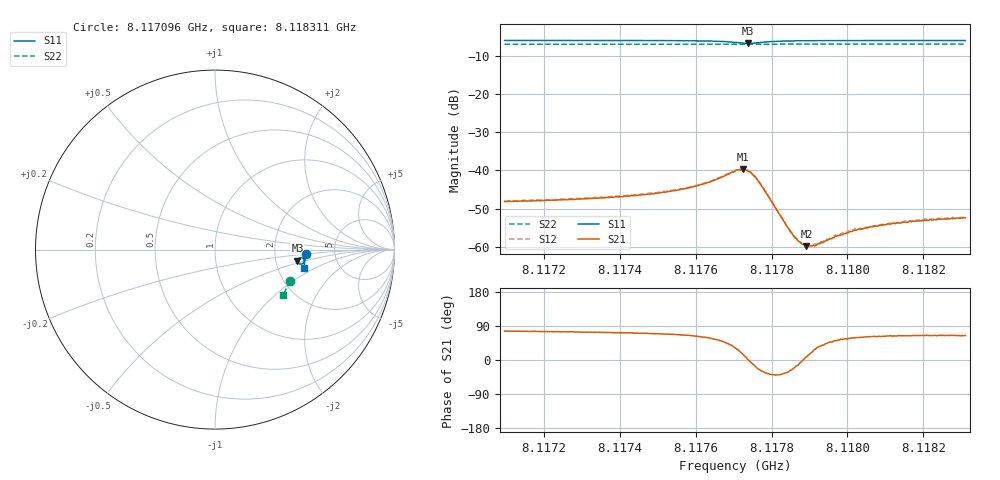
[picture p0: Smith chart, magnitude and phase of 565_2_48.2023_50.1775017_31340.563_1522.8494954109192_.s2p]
#  HZ  S  RI  R  50.00
! Rohde & Schwarz Vector Network Analyzer
! Rohde-Schwarz,ZNB20-2Port,1311601062101988,3.16
! Created: UTC 3/20/2024, 12:01:21 PM
! freq[Hz]  re:S11  im:S11  re:S21  im:S21  re:S12  im:S12  re:S22  im:S22
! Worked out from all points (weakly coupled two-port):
!   401 points, 8.117096 GHz to 8.118311 GHz, reference 50 ohm
!   highest |S21| = -39.73 dB at 8.117725 GHz (marker M1); lowest = -59.9 dB at 8.117892 GHz (marker M2)
!   lowest |S11| = -6.7 dB at 8.117737 GHz (marker M3), VSWR 2.73, Z = 133 - j20.6 ohm
!   |S11| at or under -10 dB: nowhere
!   |S22| runs from -6.9 to -6.8 dB; largest |S21 - S12| = 0.00045
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8.117096e9  0.5063 -0.0228  0.000904 0.00381  0.00102 0.00382  0.4164 -0.1749
8.1172995e9  0.5048 -0.0394  0.0012 0.00404  0.00121 0.0041  0.4112 -0.1881
8.1174028e9  0.5035 -0.0484  0.0014 0.00429  0.00141 0.00442  0.4085 -0.1949
8.117503e9  0.5014 -0.058  0.0018 0.00474  0.00189 0.00481  0.4055 -0.2014
8.1175699e9  0.4986 -0.0656  0.00237 0.00525  0.00243 0.00532  0.4034 -0.2056
8.1176185e9  0.4947 -0.0723  0.00322 0.00576  0.00332 0.00586  0.4019 -0.2087
8.1176549e9  0.4888 -0.0778  0.00452 0.00617  0.00469 0.00625  0.4005 -0.2113
8.1177035e9  0.4707 -0.0797  0.00836 0.00519  0.00838 0.00533  0.3981 -0.2139
8.1177248e9  0.461 -0.0702  0.00998 0.00261  0.0102 0.00266  0.3971 -0.2147
8.1177369e9  0.4595 -0.061  0.00978 0.000285  0.0101 0.000351  0.397 -0.215
8.1177491e9  0.4629 -0.0522  0.00883 -0.00146  0.009 -0.00162  0.3968 -0.2153
8.1177642e9  0.4714 -0.0459  0.00669 -0.00286  0.00693 -0.0029  0.3968 -0.2161
8.1178554e9  0.4968 -0.059  0.00131 -0.000599  0.00135 -0.000581  0.3953 -0.2225
8.1178766e9  0.4981 -0.0625  0.00112 -0.000114  0.00113 -0.000115  0.3945 -0.2238
8.1178918e9  0.4985 -0.0649  0.001 0.000156  0.00103 0.000165  0.3939 -0.2248
8.117907e9  0.4988 -0.0672  0.000951 0.000365  0.000981 0.000392  0.3936 -0.2258
8.1179222e9  0.4988 -0.0689  0.0009 0.000607  0.000918 0.00059  0.393 -0.2268
8.117989e9  0.4991 -0.0768  0.000826 0.00121  0.000897 0.00123  0.3907 -0.2312
8.1180163e9  0.4987 -0.0795  0.000848 0.00139  0.000882 0.00138  0.39 -0.2327
8.1181105e9  0.4978 -0.0882  0.000868 0.00178  0.000976 0.00181  0.3868 -0.2385
8.1181986e9  0.4965 -0.0956  0.000939 0.00198  0.000966 0.00204  0.3837 -0.2441
8.1183109e9  0.4947 -0.1045  0.00102 0.00216  0.00101 0.00219  0.3796 -0.2509
